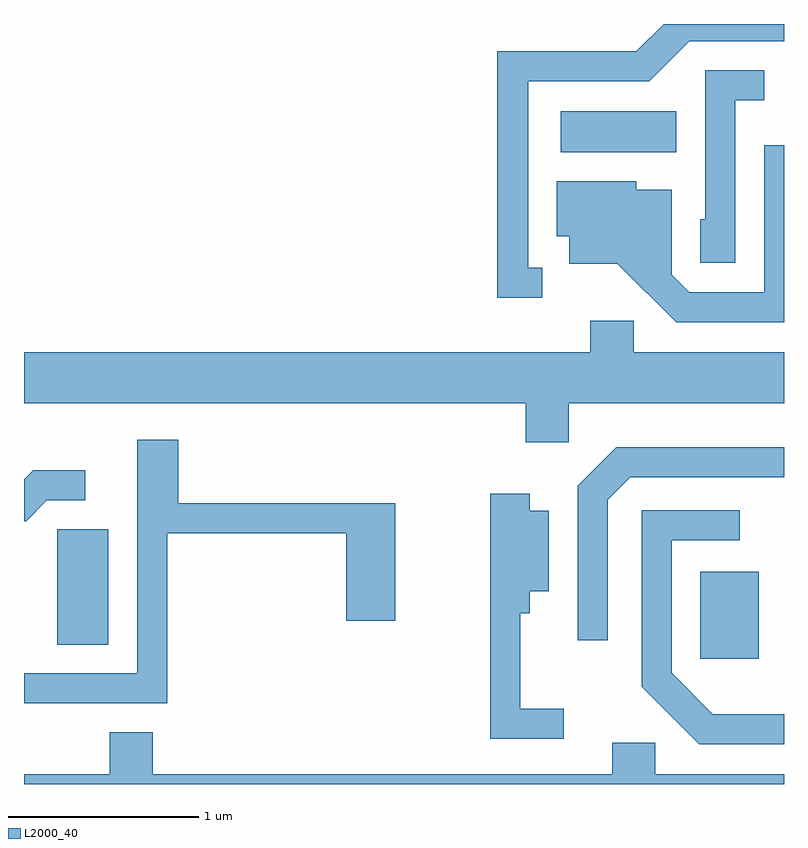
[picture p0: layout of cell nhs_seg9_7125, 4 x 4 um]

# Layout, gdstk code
import gdstk
lib = gdstk.Library(unit=1e-6, precision=1e-09)
def R(c, l, rs):  # rectangles x0, y0, x1, y1
    for r in rs: c.add(gdstk.rectangle(r[:2], r[2:], *l))
def P(c, l, *ps):  # polygons
    for p in ps: c.add(gdstk.Polygon(p, *l))
L2000_40 = (2000, 40)

nhs_seg9_7125 = lib.new_cell('nhs_seg9_7125')
R(nhs_seg9_7125, L2000_40, [(399.171,2037.091,399.479,2037.549), (395.786,2037.166,396.054,2037.774), (398.436,2039.756,399.044,2039.974)])
P(nhs_seg9_7125, L2000_40, [(398.338,2039.149),(398.264,2039.149),(398.264,2040.131),(398.902,2040.131),(399.112,2040.341),(399.611,2040.341),(399.611,2040.432),(398.977,2040.432),(398.834,2040.289),(398.101,2040.289),(398.101,2038.991),(398.338,2038.991)],
  [(399.354,2040.031),(399.508,2040.031),(399.508,2040.189),(399.196,2040.189),(399.196,2039.404),(399.171,2039.404),(399.171,2039.176),(399.354,2039.176)],
  [(399.611,2039.793),(399.506,2039.793),(399.506,2039.019),(399.112,2039.019),(399.019,2039.112),(399.019,2039.559),(398.834,2039.559),(398.834,2039.604),(398.416,2039.604),(398.416,2039.316),(398.481,2039.316),(398.481,2039.171),(398.734,2039.171),(399.044,2038.861),(399.611,2038.861)],
  [(398.479,2038.436),(399.611,2038.436),(399.611,2038.704),(398.819,2038.704),(398.819,2038.869),(398.591,2038.869),(398.591,2038.704),(395.611,2038.704),(395.611,2038.436),(398.251,2038.436),(398.251,2038.231),(398.479,2038.231)],
  [(396.364,2037.751),(397.306,2037.751),(397.306,2037.291),(397.564,2037.291),(397.564,2037.909),(396.424,2037.909),(396.424,2038.244),(396.206,2038.244),(396.206,2037.014),(395.611,2037.014),(395.611,2036.856),(396.364,2036.856)],
  [(398.684,2037.929),(398.802,2038.046),(399.611,2038.046),(399.611,2038.204),(398.729,2038.204),(398.526,2038.002),(398.526,2037.188),(398.684,2037.188)],
  [(395.732,2037.926),(395.933,2037.926),(395.933,2038.084),(395.659,2038.084),(395.611,2038.036),(395.611,2037.816),(395.622,2037.816)],
  [(398.453,2036.829),(398.224,2036.829),(398.224,2037.331),(398.274,2037.331),(398.274,2037.446),(398.374,2037.446),(398.374,2037.869),(398.274,2037.869),(398.274,2037.959),(398.066,2037.959),(398.066,2036.671),(398.453,2036.671)],
  [(399.611,2036.799),(399.237,2036.799),(399.019,2037.017),(399.019,2037.716),(399.378,2037.716),(399.378,2037.874),(398.861,2037.874),(398.861,2036.944),(399.164,2036.641),(399.611,2036.641)],
  [(399.611,2036.484),(398.934,2036.484),(398.934,2036.649),(398.706,2036.649),(398.706,2036.484),(396.289,2036.484),(396.289,2036.704),(396.061,2036.704),(396.061,2036.484),(395.611,2036.484),(395.611,2036.432),(399.611,2036.432)])

lib.write_gds('nhs_seg9_7125.gds')
